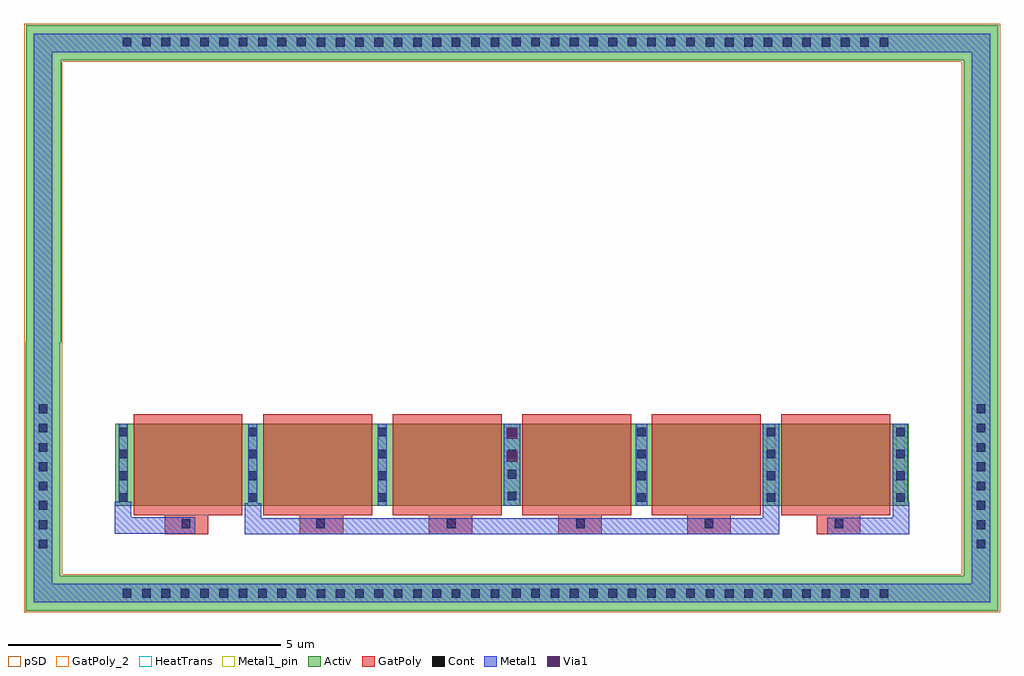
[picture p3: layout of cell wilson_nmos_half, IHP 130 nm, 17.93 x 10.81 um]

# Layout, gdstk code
from math import pi, radians
import gdstk
lib = gdstk.Library(unit=1e-6, precision=1e-09)
def R(c, l, rs):  # rectangles x0, y0, x1, y1
    for r in rs: c.add(gdstk.rectangle(r[:2], r[2:], *l))
def A(c, l, x, y, w, h, nx, ny, dx, dy):  # array of equal rectangles
    R(c, l, [(x+i*dx, y+j*dy, x+i*dx+w, y+j*dy+h) for i in range(nx) for j in range(ny)])
Activ = (1, 0)
GatPoly = (5, 0)
GatPoly_2 = (5, 2)
Cont = (6, 0)
Metal1 = (8, 0)
Metal1_pin = (8, 2)
pSD = (14, 0)
Via1 = (19, 0)
HeatTrans = (51, 0)

nmos_1_2 = lib.new_cell('nmos$1$2')
A(nmos_1_2, Activ, 55.935, -0.995, 0.3, 0.3, 7, 1, 2.38, 0)
R(nmos_1_2, Activ, [(55.935,-0.995,70.515,0.505)])
A(nmos_1_2, GatPoly, 56.275, -1.175, 2, 1.86, 6, 1, 2.38, 0)
R(nmos_1_2, GatPoly_2, [(56.275,-1.175,58.275,0.685)])
A(nmos_1_2, Cont, 56.005, -0.925, 0.16, 0.16, 7, 2, 2.38, 0.4)
A(nmos_1_2, Cont, 56.005, -0.125, 0.16, 0.16, 3, 2, 2.38, 0.4)
A(nmos_1_2, Cont, 65.525, -0.125, 0.16, 0.16, 3, 2, 2.38, 0.4)
R(nmos_1_2, Cont, [(63.145,-0.15,63.305,0.01), (63.145,0.25,63.305,0.41)])
A(nmos_1_2, Metal1, 65.525, -0.995, 0.16, 1.5, 3, 1, 2.38, 0)
R(nmos_1_2, Metal1, [(55.95,-0.995,56.225,0.505), (58.315,-0.995,58.615,0.505), (60.74,-0.995,60.95,0.505)])
R(nmos_1_2, Metal1_pin, [(56.005,-0.995,56.165,0.505), (58.385,-0.995,58.545,0.505)])
A(nmos_1_2, HeatTrans, 56.275, -1.175, 2, 1.86, 6, 1, 2.38, 0)
nmos_1_2.add(gdstk.Label('nmos', (57.275,-0.245), layer=63, texttype=0))
nmos_1_2.add(gdstk.Label('nmos', (57.275,-0.245), layer=51, texttype=0))
nmos_1_2.add(gdstk.Label('nmos', (59.655,-0.245), layer=51, texttype=0))
nmos_1_2.add(gdstk.Label('nmos', (62.035,-0.245), layer=51, texttype=0))
nmos_1_2.add(gdstk.Label('nmos', (64.415,-0.245), layer=51, texttype=0))
nmos_1_2.add(gdstk.Label('nmos', (66.795,-0.245), layer=51, texttype=0))
nmos_1_2.add(gdstk.Label('nmos', (69.175,-0.245), layer=51, texttype=0))

wilson_nmos_half = lib.new_cell('wilson_nmos_half')
A(wilson_nmos_half, GatPoly, -59.82, -0.295, 0.8, 0.355, 4, 1, 2.375, 0)
R(wilson_nmos_half, GatPoly, [(-50.32,-0.3,-49.52,0.06), (-62.295,-0.295,-61.495,0.06)])
A(wilson_nmos_half, Cont, -59.51, -1.465, 0.16, 0.16, 9, 2, 0.355, 10.13)
A(wilson_nmos_half, Cont, -52.36, -1.465, 0.16, 0.16, 9, 2, 0.355, 10.13)
A(wilson_nmos_half, Cont, -63.07, -1.46, 0.16, 0.16, 9, 2, 0.355, 10.13)
A(wilson_nmos_half, Cont, -55.92, -1.46, 0.16, 0.16, 9, 2, 0.355, 10.13)
A(wilson_nmos_half, Cont, -64.615, -0.555, 0.16, 0.16, 1, 8, 0, 0.355)
A(wilson_nmos_half, Cont, -47.38, -0.555, 0.16, 0.16, 1, 8, 0, 0.355)
R(wilson_nmos_half, Cont, [(-56.31,-1.465,-56.15,-1.305), (-49.16,-1.465,-49,-1.305), (-59.87,-1.46,-59.71,-1.3), (-52.72,-1.46,-52.56,-1.3), (-61.99,-0.185,-61.83,-0.025), (-59.515,-0.185,-59.355,-0.025), (-57.115,-0.185,-56.955,-0.025), (-54.74,-0.185,-54.58,-0.025), (-52.375,-0.185,-52.215,-0.025), (-49.99,-0.185,-49.83,-0.025), (-56.31,8.665,-56.15,8.825), (-49.16,8.665,-49,8.825), (-59.87,8.67,-59.71,8.83), (-52.72,8.67,-52.56,8.83)])
R(wilson_nmos_half, Metal1, [(-56.07,0.23,-55.765,1.73)])
R(wilson_nmos_half, Via1, [(-56.015,1.04,-55.825,1.23), (-56.015,1.46,-55.825,1.65)])
wilson_nmos_half.add(gdstk.FlexPath([(-64.215,2.92),(-64.52,2.92),(-64.52,8.735),(-47.3,8.735),(-47.3,-1.38),(-64.535,-1.38),(-64.535,3.24)], 0.64, ends="flush", simple_path=True, layer=1, datatype=0))  # Activ
wilson_nmos_half.add(gdstk.FlexPath([(-59.63,-0.15),(-52.08,-0.15)], 0.3, ends="flush", simple_path=True, layer=8, datatype=0))  # Metal1
wilson_nmos_half.add(gdstk.FlexPath([(-50.12,-0.145),(-48.77,-0.145),(-48.77,0.3)], 0.3, ends="flush", simple_path=True, layer=8, datatype=0))  # Metal1
wilson_nmos_half.add(gdstk.FlexPath([(-61.735,-0.135),(-63.065,-0.135),(-63.065,0.3)], 0.3, ends="flush", simple_path=True, layer=8, datatype=0))  # Metal1
wilson_nmos_half.add(gdstk.FlexPath([(-60.675,0.275),(-60.675,-0.15),(-59.625,-0.15)], 0.3, ends="flush", simple_path=True, layer=8, datatype=0))  # Metal1
wilson_nmos_half.add(gdstk.FlexPath([(-52.105,-0.15),(-51.16,-0.15),(-51.16,0.32)], 0.3, ends="flush", simple_path=True, layer=8, datatype=0))  # Metal1
wilson_nmos_half.add(gdstk.FlexPath([(-64.535,-1.38),(-47.3,-1.38),(-47.3,8.735),(-64.535,8.735),(-64.535,-1.55)], 0.34, ends="flush", simple_path=True, layer=8, datatype=0))  # Metal1
wilson_nmos_half.add(gdstk.FlexPath([(-64.85,8.735),(-47.3,8.735),(-47.3,-1.38),(-64.535,-1.38),(-64.535,9.085)], 0.7, ends="flush", simple_path=True, layer=14, datatype=0))  # pSD
wilson_nmos_half.add(gdstk.Reference(nmos_1_2, (7.305,0.735), rotation=pi))

lib.write_gds('wilson_nmos_half.gds')
